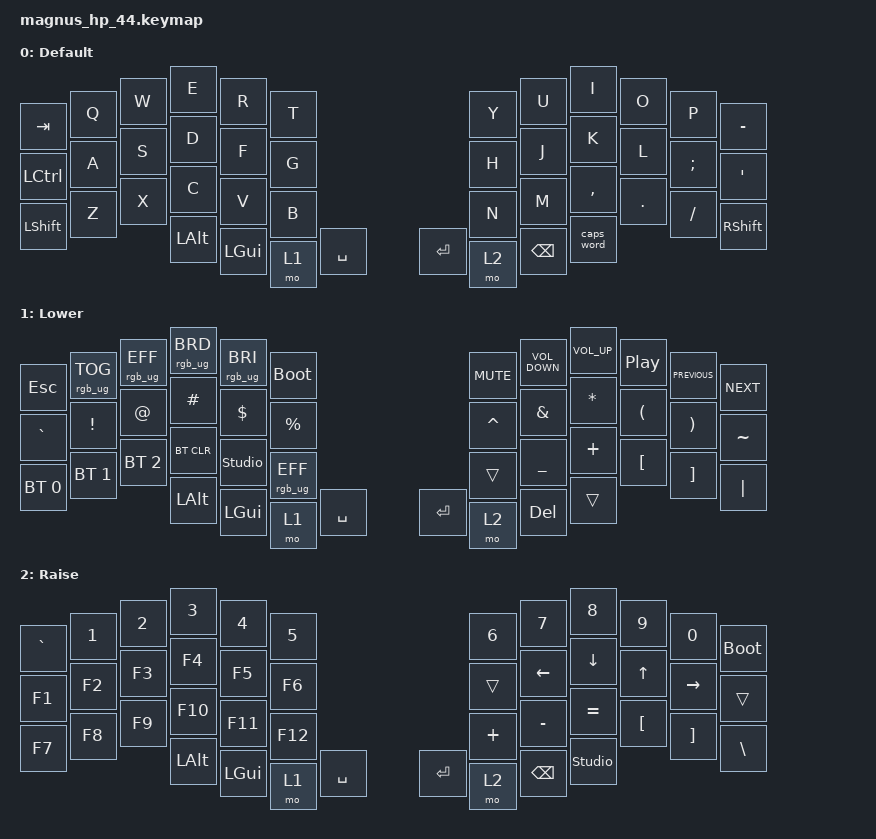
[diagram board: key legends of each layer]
#include <behaviors.dtsi>
#include <dt-bindings/zmk/keys.h>
#include <dt-bindings/zmk/bt.h>
#include <dt-bindings/zmk/rgb.h>

/ {
    keymap {
        compatible = "zmk,keymap";

        default_layer {
            display-name = "Default";
            bindings = <
                &kp TAB     &kp Q     &kp W     &kp E     &kp R     &kp T         &kp Y     &kp U     &kp I     &kp O           &kp P     &kp MINUS
                &kp LCTRL   &kp A     &kp S     &kp D     &kp F     &kp G         &kp H     &kp J     &kp K     &kp L           &kp SCLN  &kp QUOT
                &kp LSHIFT  &kp Z     &kp X     &kp C     &kp V     &kp B         &kp N     &kp M     &kp COMMA &kp DOT         &kp SLASH  &kp RSHIFT
                                      &kp LALT  &kp LGUI  &mo 1     &kp SPACE     &kp ENTER &mo 2     &kp BSPC  &caps_word
            >;
        };

        lower_layer {
            display-name = "Lower";
            bindings = <
                &kp ESC         &rgb_ug RGB_TOG &rgb_ug RGB_EFF &rgb_ug RGB_BRD &rgb_ug RGB_BRI &bootloader             &kp C_MUTE  &kp C_VOLUME_DOWN   &kp C_VOLUME_UP &kp C_PLAY_PAUSE    &kp C_PREVIOUS  &kp C_NEXT
                &kp GRAVE       &kp EXCL        &kp AT          &kp HASH        &kp DOLLAR      &kp PERCENT             &kp CARET   &kp AMPS            &kp ASTRK       &kp LPAR            &kp RPAR        &kp TILDE
                &bt BT_SEL 0    &bt BT_SEL 1    &bt BT_SEL 2    &bt BT_CLR      &studio_unlock  &rgb_ug RGB_EFF         &trans      &kp UNDER           &kp PLUS        &kp LBKT            &kp RBKT        &kp PIPE
                                                &kp LALT        &kp LGUI        &mo 1           &kp SPACE               &kp ENTER   &mo 2               &kp DEL         &trans
            >;
        };

        raise_layer {
            display-name = "Raise";
            bindings = <
                &kp GRAVE  &kp 1      &kp 2      &kp 3      &kp 4      &kp 5        &kp 6      &kp 7      &kp 8      &kp 9      &kp 0      &bootloader
                &kp F1     &kp F2     &kp F3     &kp F4     &kp F5     &kp F6       &trans      &kp LEFT   &kp DOWN   &kp UP     &kp RIGHT  &trans
                &kp F7     &kp F8     &kp F9     &kp F10    &kp F11    &kp F12      &kp PLUS   &kp MINUS   &kp EQUAL    &kp LBKT   &kp RBKT   &kp BSLH
                                      &kp LALT   &kp LGUI   &mo 1      &kp SPACE    &kp ENTER    &mo 2      &kp BSPC   &studio_unlock
            >;
        };

        extra1_layer {
            status = "reserved";
        };

        extra2_layer {
            status = "reserved";
        };

        extra3_layer {
            status = "reserved";
        };
    };
};
